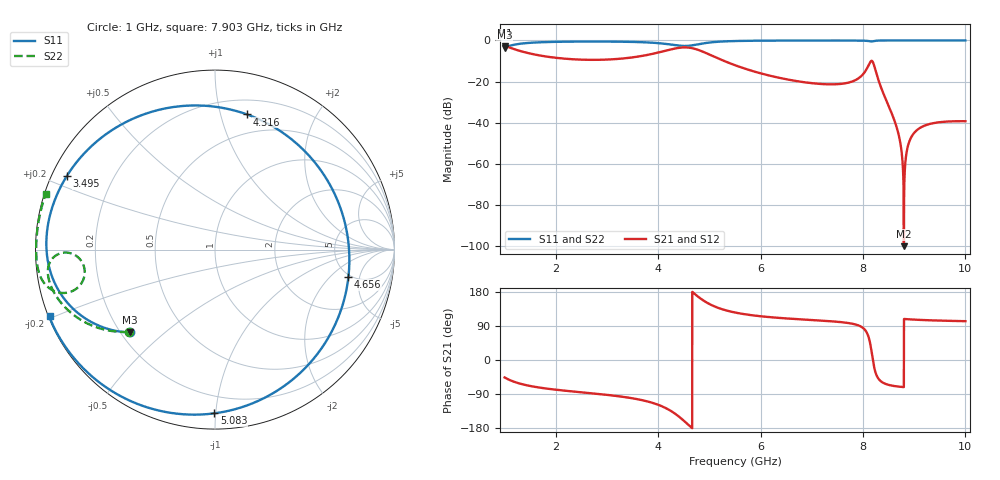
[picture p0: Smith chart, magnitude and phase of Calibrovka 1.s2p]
!freq-unit  param-type  data-format  keyword  impedance-ohms
# GHZ  S  RI  R  50
!Freq  ReS11  ImS11  ReS21  ImS21  ReS12  ImS12  ReS22  ImS22
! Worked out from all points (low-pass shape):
!   9001 points, 1 GHz to 10 GHz, reference 50 ohm
!   highest |S21| = -2.51 dB at 1 GHz (marker M1); lowest = -100.0 dB at 8.799 GHz (marker M2)
!   |S21| within 3 dB of the highest: start of sweep to 1.36 GHz; 4.059 GHz to 4.877 GHz (818.4 MHz wide, 18.3 % of centre)
!   lowest |S11| = -3.6 dB at 1 GHz (marker M3), VSWR 4.93, Z = 11.7 - j19.3 ohm
!   |S11| at or under -10 dB: nowhere
!   |S22| runs from -3.6 to 0.0 dB; largest |S21 - S12| = 0
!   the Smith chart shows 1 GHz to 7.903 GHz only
!   S11 on the Smith chart (normalised r, x): 1 GHz: 0.23, -0.39; 3.495 GHz: 0.04, +0.23; 4.316 GHz: 0.32, +1.21; 4.656 GHz: 4.78, -3.41; 5.083 GHz: 0.09, -0.99; 7.903 GHz: 0.00, -0.19
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1  -0.4754 -0.4618  0.5197 -0.5391  0.5197 -0.5391  -0.4789 -0.4581
2.5  -0.9396 0.0241  0.0281 -0.3403  0.0281 -0.3403  -0.9229 -0.1778
3.495  -0.8265 0.4086  -0.0738 -0.3801  -0.0738 -0.3801  -0.9193 -0.0696
4  -0.4594 0.7282  -0.2403 -0.4483  -0.2403 -0.4483  -0.8607 -0.0206
4.316  0.1798 0.7527  -0.4882 -0.4035  -0.4882 -0.4035  -0.7731 -0.0348
4.656  0.7434 -0.1513  -0.6514 -0.0111  -0.6514 -0.0111  -0.7378 -0.1766
5.083  -0.00368 -0.9123  -0.3244 0.2499  -0.3244 0.2499  -0.8811 -0.2365
5.5  -0.4932 -0.8331  -0.1448 0.2043  -0.1448 0.2043  -0.9494 -0.1896
7  -0.8755 -0.4745  -0.0244 0.0883  -0.0244 0.0883  -0.9949 -0.0434
7.903  -0.9214 -0.3703  -0.00346 0.1181  -0.00346 0.1181  -0.9415 0.3157
8.037  -0.9204 -0.3507  0.0307 0.1701  0.0307 0.1701  -0.7401 0.6499
8.11  -0.9073 -0.337  0.1247 0.2183  0.1247 0.2183  -0.171 0.9525
8.182  -0.8792 -0.3594  0.3091 0.0488  0.3091 0.0488  0.9468 -0.0712
8.221  -0.8947 -0.3785  0.2214 -0.085  0.2214 -0.085  0.4111 -0.88
8.255  -0.9099 -0.3788  0.135 -0.102  0.135 -0.102  -0.1157 -0.9787
8.339  -0.9268 -0.3669  0.046 -0.0655  0.046 -0.0655  -0.6601 -0.7468
8.5  -0.9367 -0.3491  0.0106 -0.0234  0.0106 -0.0234  -0.8801 -0.4741
8.689  -0.9425 -0.3343  0.0019 -0.00526  0.0019 -0.00526  -0.9384 -0.3455
8.799  -0.945 -0.327  -2.82e-06 9.59e-06  -2.82e-06 9.59e-06  -0.9527 -0.3038
8.904  -0.9472 -0.3205  -0.00104 0.00333  -0.00104 0.00333  -0.9615 -0.2749
9.067  -0.9503 -0.3112  -0.00189 0.00656  -0.00189 0.00656  -0.9701 -0.2425
10  -0.963 -0.2691  -0.00235 0.0106  -0.00235 0.0106  -0.9868 -0.1614
